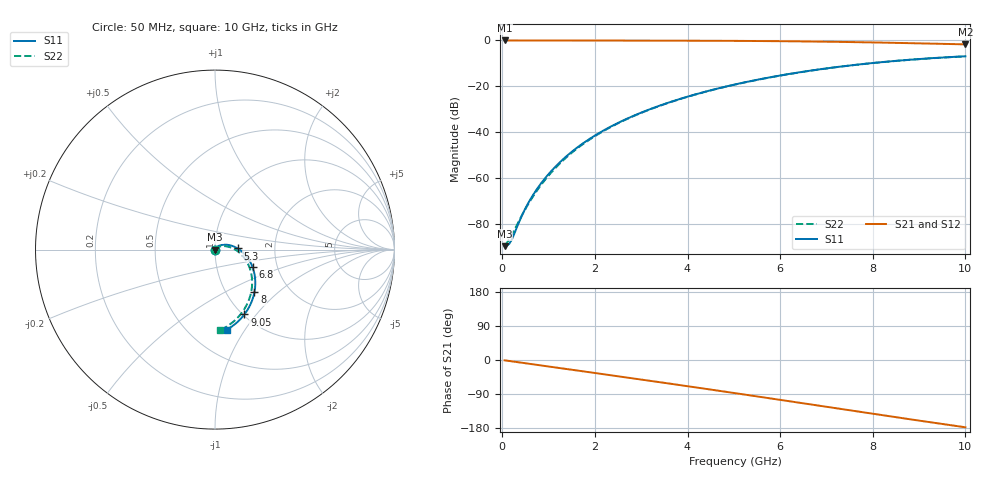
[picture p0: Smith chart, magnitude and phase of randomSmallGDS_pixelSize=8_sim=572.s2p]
! freq	dB(S11)	phase(S11)	dB(S12)	phase(S12)
!  dB(S21)	phase(S21)	dB(S22)	phase(S22)
!S-par simulation data
#  GHz  S  DB  R 50
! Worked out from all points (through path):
!   200 points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, 50 MHz to 10 GHz, reference 50 ohm
!   highest |S21| = 0.00 dB at 50 MHz (marker M1); lowest = -1.7 dB at 10 GHz (marker M2)
!   group delay of S21, straight-line fit = 49.6 ps
!   lowest |S11| = -89.7 dB at 50 MHz (marker M3), VSWR 1.00, Z = 50 + j0.000816 ohm
!   |S11| at or under -10 dB: start of sweep to 7.916 GHz
!   |S22| runs from -89.4 to -7.0 dB; largest |S21 - S12| = 0
!   S11 on the Smith chart (normalised r, x): 50 MHz: 1.00, +0.00; 5.3 GHz: 1.29, +0.02; 6.8 GHz: 1.49, -0.31; 8 GHz: 1.35, -0.71; 9.05 GHz: 1.01, -0.87; 10 GHz: 0.74, -0.83
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0.05  -89.75 14.5  -0.00 -0.9  -0.00 -0.9  -89.37 13.6
0.3  -82.28 89.8  -0.00 -5.2  -0.00 -5.2  -81.05 52.7
0.35  -79.80 96.0  -0.01 -6.0  -0.01 -6.0  -79.09 56.0
0.45  -75.26 102.0  -0.01 -7.8  -0.01 -7.8  -75.31 60.7
0.6  -69.54 103.1  -0.01 -10.3  -0.01 -10.3  -70.09 64.4
0.75  -64.78 100.8  -0.02 -12.9  -0.02 -12.9  -65.47 66.0
0.9  -60.70 97.2  -0.02 -15.5  -0.02 -15.5  -61.39 66.2
1.3  -52.06 86.6  -0.03 -22.3  -0.03 -22.3  -52.57 63.2
1.75  -44.78 75.1  -0.03 -30.0  -0.03 -30.0  -45.11 57.0
2.1  -40.27 66.8  -0.04 -36.0  -0.04 -36.0  -40.51 51.5
2.5  -35.96 57.8  -0.05 -42.9  -0.05 -42.9  -36.13 44.8
3.4  -28.42 39.2  -0.07 -58.5  -0.07 -58.5  -28.52 29.4
4.25  -23.08 22.8  -0.12 -73.5  -0.12 -73.5  -23.14 14.7
5.05  -19.08 7.7  -0.18 -87.9  -0.18 -87.9  -19.13 0.7
5.3  -17.99 3.0  -0.21 -92.4  -0.21 -92.4  -18.04 -3.7
6  -15.28 -10.1  -0.32 -105.1  -0.32 -105.1  -15.33 -16.2
6.7  -13.03 -23.2  -0.46 -118.0  -0.46 -118.0  -13.07 -28.7
6.8  -12.74 -25.0  -0.49 -119.8  -0.49 -119.8  -12.78 -30.5
8  -9.83 -47.0  -0.86 -141.9  -0.86 -141.9  -9.87 -52.0
8.35  -9.16 -53.3  -0.99 -148.3  -0.99 -148.3  -9.20 -58.1
9.05  -8.03 -65.7  -1.28 -160.9  -1.28 -160.9  -8.07 -70.3
10  -6.91 -81.8  -1.71 -177.6  -1.71 -177.6  -6.95 -86.4
